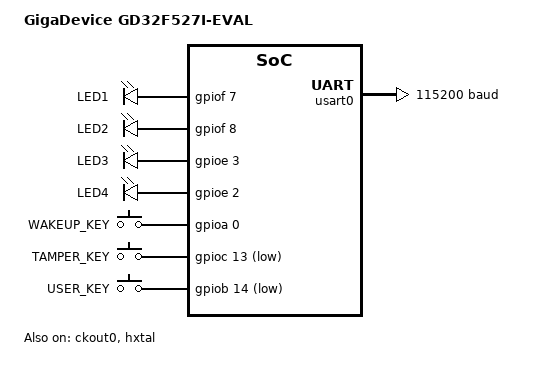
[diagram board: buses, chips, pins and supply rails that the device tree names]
/*
 * Copyright (c) 2026 GigaDevice Semiconductor Inc.
 *
 * SPDX-License-Identifier: Apache-2.0
 */

/dts-v1/;

#include <gd/gd32f527/gd32f527is.dtsi>
#include "gd32f527i_eval-pinctrl.dtsi"
#include <zephyr/dt-bindings/input/input-event-codes.h>

/ {
	compatible = "gd,gd32f527i-eval";
	model = "GigaDevice GD32F527I-EVAL";

	chosen {
		zephyr,flash = &flash0;
		zephyr,sram = &sram0;
		zephyr,console = &usart0;
		zephyr,shell-uart = &usart0;
	};

	leds {
		compatible = "gpio-leds";

		led1: led1 {
			gpios = <&gpiof 7 GPIO_ACTIVE_HIGH>;
			label = "LED1";
		};

		led2: led2 {
			gpios = <&gpiof 8 GPIO_ACTIVE_HIGH>;
			label = "LED2";
		};

		led3: led3 {
			gpios = <&gpioe 3 GPIO_ACTIVE_HIGH>;
			label = "LED3";
		};

		led4: led4 {
			gpios = <&gpioe 2 GPIO_ACTIVE_HIGH>;
			label = "LED4";
		};
	};

	gpio_keys {
		compatible = "gpio-keys";

		wakeup_key: wakeup_key {
			label = "WAKEUP_KEY";
			gpios = <&gpioa 0 GPIO_ACTIVE_HIGH>;
			zephyr,code = <INPUT_KEY_WAKEUP>;
		};

		tamper_key: tamper_key {
			label = "TAMPER_KEY";
			gpios = <&gpioc 13 GPIO_ACTIVE_LOW>;
			zephyr,code = <INPUT_KEY_0>;
		};

		user_key: user_key {
			label = "USER_KEY";
			gpios = <&gpiob 14 GPIO_ACTIVE_LOW>;
			zephyr,code = <INPUT_KEY_1>;
		};
	};

	aliases {
		led0 = &led1;
		led1 = &led2;
		led2 = &led3;
		led3 = &led4;
		sw0 = &user_key;
		sw1 = &tamper_key;
		sw2 = &wakeup_key;
	};
};

&gpioa {
	status = "okay";
};

&gpiob {
	status = "okay";
};

&gpioc {
	status = "okay";
};

&gpioe {
	status = "okay";
};

&gpiof {
	status = "okay";
};

&gpiog {
	status = "okay";
};

&gpioh {
	status = "okay";
};

&gpioi {
	status = "okay";
};

&usart0 {
	current-speed = <115200>;
	pinctrl-0 = <&usart0_default>;
	pinctrl-names = "default";
	status = "okay";
};

&ckout0 {
	clocks = <&cctl GD32_CKOUT0SRC_PLLP>;
	clock-names = "clksel";
	prescaler = <GD32_CKOUT0_DIV4>;
	pinctrl-0 = <&ckout0_default>;
	pinctrl-names = "default";
	status = "okay";
};

&hxtal {
	clock-frequency = <DT_FREQ_M(25)>;
	status = "okay";
};

&pll {
	pll-psc = <25>;
	pll-n = <400>;
	pll-p = <2>;
	pll-q = <9>;
	status = "okay";
};

&rcu {
	clocks = <&pll>;
	clock-frequency = <DT_FREQ_M(200)>;
	ahb-prescaler = <1>;
	apb1-prescaler = <4>;
	apb2-prescaler = <2>;
};
